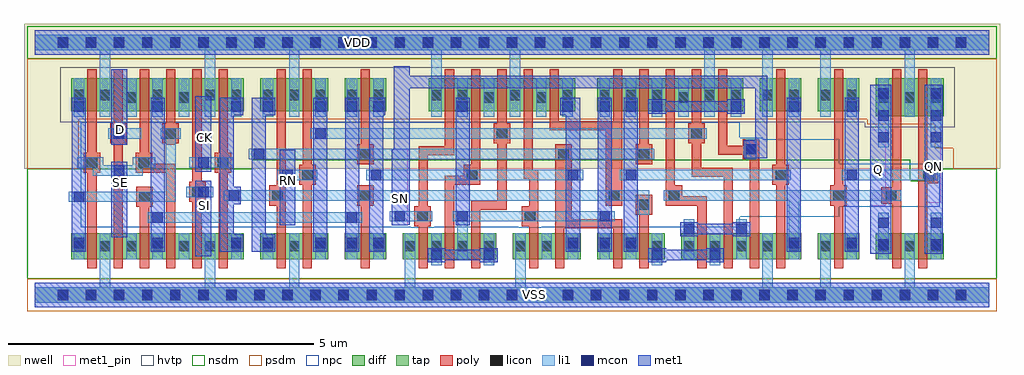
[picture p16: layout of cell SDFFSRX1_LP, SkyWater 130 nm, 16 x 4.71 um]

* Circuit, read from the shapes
.subckt SDFFSRX1_LP CK D Q QN RN SE SI SN VDD VSS
XM1 VSS SE n1 VSS sky130_fd_pr__nfet_01v8 w=0.42 l=0.15
XM2 n2 D VSS VSS sky130_fd_pr__nfet_01v8 w=0.42 l=0.15
XM3 n3 n1 n2 VSS sky130_fd_pr__nfet_01v8 w=0.42 l=0.15
XM4 n4 SE n3 VSS sky130_fd_pr__nfet_01v8 w=0.42 l=0.15
XM5 VSS SI n4 VSS sky130_fd_pr__nfet_01v8 w=0.42 l=0.15
XM6 n5 CK VSS VSS sky130_fd_pr__nfet_01v8 w=0.42 l=0.15
XM7 VSS n5 n6 VSS sky130_fd_pr__nfet_01v8 w=0.42 l=0.15
XM8 n7 RN VSS VSS sky130_fd_pr__nfet_01v8 w=0.42 l=0.15
XM9 n8 n5 n3 VSS sky130_fd_pr__nfet_01v8 w=0.42 l=0.15
XM10 n9 SN VSS VSS sky130_fd_pr__nfet_01v8 w=0.42 l=0.15
XM11 n10 n8 n9 VSS sky130_fd_pr__nfet_01v8 w=0.42 l=0.15
XM12 n9 n7 n10 VSS sky130_fd_pr__nfet_01v8 w=0.42 l=0.15
XM13 n11 n10 VSS VSS sky130_fd_pr__nfet_01v8 w=0.42 l=0.15
XM14 n8 n6 n11 VSS sky130_fd_pr__nfet_01v8 w=0.42 l=0.15
XM15 n12 n6 n10 VSS sky130_fd_pr__nfet_01v8 w=0.42 l=0.15
XM16 n13 n5 n12 VSS sky130_fd_pr__nfet_01v8 w=0.42 l=0.15
XM17 n13 n14 n15 VSS sky130_fd_pr__nfet_01v8 w=0.42 l=0.15
XM18 n15 n7 n13 VSS sky130_fd_pr__nfet_01v8 w=0.42 l=0.15
XM19 VSS SN n15 VSS sky130_fd_pr__nfet_01v8 w=0.42 l=0.15
XM20 n14 n12 VSS VSS sky130_fd_pr__nfet_01v8 w=0.42 l=0.15
XM21 n16 n14 VSS VSS sky130_fd_pr__nfet_01v8 w=0.42 l=0.15
XM22 VSS n14 Q VSS sky130_fd_pr__nfet_01v8 w=0.42 l=0.15
XM23 QN n16 VSS VSS sky130_fd_pr__nfet_01v8 w=0.42 l=0.15
XM24 VDD SE n1 VDD sky130_fd_pr__pfet_01v8_hvt w=0.54 l=0.15
XM25 n17 D VDD VDD sky130_fd_pr__pfet_01v8_hvt w=0.54 l=0.15
XM26 n3 SE n17 VDD sky130_fd_pr__pfet_01v8_hvt w=0.54 l=0.15
XM27 n18 n1 n3 VDD sky130_fd_pr__pfet_01v8_hvt w=0.54 l=0.15
XM28 VDD SI n18 VDD sky130_fd_pr__pfet_01v8_hvt w=0.54 l=0.15
XM29 n5 CK VDD VDD sky130_fd_pr__pfet_01v8_hvt w=0.54 l=0.15
XM30 VDD n5 n6 VDD sky130_fd_pr__pfet_01v8_hvt w=0.54 l=0.15
XM31 n7 RN VDD VDD sky130_fd_pr__pfet_01v8_hvt w=0.54 l=0.15
XM32 n8 n6 n3 VDD sky130_fd_pr__pfet_01v8_hvt w=0.54 l=0.15
XM33 n10 SN VDD VDD sky130_fd_pr__pfet_01v8_hvt w=0.54 l=0.15
XM34 n19 n8 n10 VDD sky130_fd_pr__pfet_01v8_hvt w=0.54 l=0.15
XM35 VDD n7 n19 VDD sky130_fd_pr__pfet_01v8_hvt w=0.54 l=0.15
XM36 n20 n10 VDD VDD sky130_fd_pr__pfet_01v8_hvt w=0.54 l=0.15
XM37 n8 n5 n20 VDD sky130_fd_pr__pfet_01v8_hvt w=0.54 l=0.15
XM38 n12 n5 n10 VDD sky130_fd_pr__pfet_01v8_hvt w=0.54 l=0.15
XM39 n21 n6 n12 VDD sky130_fd_pr__pfet_01v8_hvt w=0.54 l=0.15
XM40 n22 n14 n21 VDD sky130_fd_pr__pfet_01v8_hvt w=0.54 l=0.15
XM41 VDD n7 n22 VDD sky130_fd_pr__pfet_01v8_hvt w=0.54 l=0.15
XM42 n21 SN VDD VDD sky130_fd_pr__pfet_01v8_hvt w=0.54 l=0.15
XM43 n14 n12 VDD VDD sky130_fd_pr__pfet_01v8_hvt w=0.54 l=0.15
XM44 n16 n14 VDD VDD sky130_fd_pr__pfet_01v8_hvt w=0.54 l=0.15
XM45 VDD n14 Q VDD sky130_fd_pr__pfet_01v8_hvt w=0.62 l=0.15
XM46 QN n16 VDD VDD sky130_fd_pr__pfet_01v8_hvt w=0.62 l=0.15
.ends

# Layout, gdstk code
from math import pi, radians
import gdstk
lib = gdstk.Library(unit=1e-6, precision=1e-09)
def R(c, l, rs):  # rectangles x0, y0, x1, y1
    for r in rs: c.add(gdstk.rectangle(r[:2], r[2:], *l))
def A(c, l, x, y, w, h, nx, ny, dx, dy):  # array of equal rectangles
    R(c, l, [(x+i*dx, y+j*dy, x+i*dx+w, y+j*dy+h) for i in range(nx) for j in range(ny)])
def P(c, l, *ps):  # polygons
    for p in ps: c.add(gdstk.Polygon(p, *l))
nwell = (64, 20)
diff = (65, 20)
tap = (65, 44)
poly = (66, 20)
licon = (66, 44)
li1 = (67, 20)
mcon = (67, 44)
met1_pin = (68, 16)
met1 = (68, 20)
hvtp = (78, 44)
nsdm = (93, 44)
psdm = (94, 20)
npc = (95, 20)

pyl1con_c_cdns_758729379 = lib.new_cell('PYL1CON_C_CDNS_758729379653')
R(pyl1con_c_cdns_758729379, poly, [(-0.135,-0.165,0.135,0.165)])
R(pyl1con_c_cdns_758729379, licon, [(-0.085,-0.085,0.085,0.085)])
R(pyl1con_c_cdns_758729379, npc, [(-0.185,-0.185,0.185,0.185)])

l1m1_c_cdns_758729379651 = lib.new_cell('L1M1_C_CDNS_7587293796510')
R(l1m1_c_cdns_758729379651, li1, [(-0.085,-0.525,0.085,0.525)])
A(l1m1_c_cdns_758729379651, mcon, -0.085, -0.445, 0.17, 0.17, 1, 3, 0, 0.36)
R(l1m1_c_cdns_758729379651, met1, [(-0.115,-0.505,0.115,0.505)])

l1m1_c_cdns_758729379655 = lib.new_cell('L1M1_C_CDNS_758729379655')
R(l1m1_c_cdns_758729379655, li1, [(-0.085,-0.165,0.085,0.165)])
R(l1m1_c_cdns_758729379655, mcon, [(-0.085,-0.085,0.085,0.085)])
R(l1m1_c_cdns_758729379655, met1, [(-0.115,-0.145,0.115,0.145)])

l1m1_c_cdns_758729379659 = lib.new_cell('L1M1_C_CDNS_758729379659')
R(l1m1_c_cdns_758729379659, li1, [(-0.085,-0.345,0.085,0.345)])
R(l1m1_c_cdns_758729379659, mcon, [(-0.085,-0.265,0.085,-0.095), (-0.085,0.095,0.085,0.265)])
R(l1m1_c_cdns_758729379659, met1, [(-0.115,-0.325,0.115,0.325)])

l1m1_c_cdns_758729379654 = lib.new_cell('L1M1_C_CDNS_758729379654')
R(l1m1_c_cdns_758729379654, li1, [(-0.165,-0.085,0.165,0.085)])
R(l1m1_c_cdns_758729379654, mcon, [(-0.085,-0.085,0.085,0.085)])
R(l1m1_c_cdns_758729379654, met1, [(-0.115,-0.145,0.115,0.145)])

l1m1_c_cdns_758729379652 = lib.new_cell('L1M1_C_CDNS_758729379652')
R(l1m1_c_cdns_758729379652, li1, [(-0.085,-0.165,0.085,0.165)])
R(l1m1_c_cdns_758729379652, mcon, [(-0.085,-0.085,0.085,0.085)])
R(l1m1_c_cdns_758729379652, met1, [(-0.145,-0.115,0.145,0.115)])

polyconn_cdns_7587293796 = lib.new_cell('polyConn_CDNS_758729379650')
R(polyconn_cdns_7587293796, poly, [(-0.135,-0.165,0.135,0.165)])
R(polyconn_cdns_7587293796, licon, [(-0.085,-0.085,0.085,0.085)])
R(polyconn_cdns_7587293796, li1, [(-0.085,-0.165,0.085,0.165)])
R(polyconn_cdns_7587293796, mcon, [(-0.085,-0.085,0.085,0.085)])
R(polyconn_cdns_7587293796, met1, [(-0.115,-0.145,0.115,0.145)])
R(polyconn_cdns_7587293796, npc, [(-0.185,-0.185,0.185,0.185)])

licondiff_c_cdns_7587293 = lib.new_cell('LICONDIFF_C_CDNS_758729379657')
R(licondiff_c_cdns_7587293, diff, [(-0.125,-0.145,0.125,0.145)])
R(licondiff_c_cdns_7587293, licon, [(-0.085,-0.085,0.085,0.085), (-0.085,-0.085,0.085,0.085)])

sdffsrx1_lp = lib.new_cell('SDFFSRX1_LP')
R(sdffsrx1_lp, nwell, [(-0.18,2.07,15.82,4.445)])
R(sdffsrx1_lp, diff, [(0.595,0.59,3.425,1.01), (3.695,0.59,4.805,1.01), (5.075,0.59,5.755,1.01), (6.025,0.59,7.565,1.01), (7.835,0.59,8.945,1.01), (9.215,0.59,10.325,1.01), (10.595,0.59,12.565,1.01), (12.835,0.59,13.515,1.01), (13.785,0.59,14.895,1.01), (13.785,2.93,14.895,3.55), (0.595,3.01,3.425,3.55), (3.695,3.01,4.805,3.55), (5.075,3.01,5.755,3.55), (6.455,3.01,8.855,3.55), (9.215,3.01,11.615,3.55), (11.885,3.01,12.565,3.55), (12.835,3.01,13.515,3.55)])
A(sdffsrx1_lp, poly, 12.15, 0.44, 0.15, 3.26, 3, 1, 0.95, 0)
R(sdffsrx1_lp, poly, [(0.86,0.44,1.01,3.7), (1.29,0.44,1.44,3.7), (1.72,0.44,1.87,1.705), (2.58,0.44,2.73,3.7), (3.01,0.44,3.16,3.7), (3.96,0.44,4.11,3.7), (4.39,0.44,4.54,3.7), (5.34,0.44,5.49,1.795), (9.91,0.44,10.06,1.345), (14.48,0.44,14.63,3.7), (9.91,2.145,10.06,3.7), (5.34,2.16,5.49,3.7), (2.15,2.465,2.3,3.7)])
P(sdffsrx1_lp, poly, [(2.3,2.155),(1.87,2.155),(1.87,3.7),(1.72,3.7),(1.72,2.005),(2.15,2.005),(2.15,0.44),(2.3,0.44)],
  [(6.87,3.7),(6.72,3.7),(6.72,2.44),(6.29,2.44),(6.29,0.44),(6.44,0.44),(6.44,2.29),(6.87,2.29)],
  [(7.3,3.7),(7.15,3.7),(7.15,1.955),(6.72,1.955),(6.72,0.44),(6.87,0.44),(6.87,1.805),(7.3,1.805)],
  [(7.73,3.7),(7.58,3.7),(7.58,1.545),(7.15,1.545),(7.15,0.44),(7.3,0.44),(7.3,1.395),(7.73,1.395)],
  [(8.25,2.055),(8.16,2.055),(8.16,3.7),(8.01,3.7),(8.01,1.905),(8.1,1.905),(8.1,0.44),(8.25,0.44)],
  [(9.63,3.7),(9.48,3.7),(9.48,2.85),(8.59,2.85),(8.59,3.7),(8.44,3.7),(8.44,2.7),(9.36,2.7),(9.36,1.465),(9.63,1.465)],
  [(9.63,1.24),(8.8,1.24),(8.8,2.475),(8.53,2.475),(8.53,0.44),(8.68,0.44),(8.68,1.09),(9.48,1.09),(9.48,0.44),(9.63,0.44)],
  [(11.01,1.615),(10.49,1.615),(10.49,3.7),(10.34,3.7),(10.34,1.465),(10.86,1.465),(10.86,0.44),(11.01,0.44)],
  [(11.44,2.085),(10.92,2.085),(10.92,3.7),(10.77,3.7),(10.77,1.935),(11.29,1.935),(11.29,0.44),(11.44,0.44)],
  [(11.87,2.445),(11.35,2.445),(11.35,3.7),(11.2,3.7),(11.2,2.295),(11.72,2.295),(11.72,0.44),(11.87,0.44)])
A(sdffsrx1_lp, licon, 0.375, -0.085, 0.17, 0.17, 33, 2, 0.46, 4.14)
A(sdffsrx1_lp, licon, 1.065, 0.715, 0.17, 0.17, 3, 2, 0.86, 2.48)
A(sdffsrx1_lp, licon, 3.735, 0.715, 0.17, 0.17, 3, 2, 0.43, 2.48)
A(sdffsrx1_lp, licon, 6.065, 0.715, 0.17, 0.17, 4, 1, 0.43, 0)
A(sdffsrx1_lp, licon, 9.255, 0.715, 0.17, 0.17, 3, 2, 0.43, 2.48)
A(sdffsrx1_lp, licon, 10.635, 0.715, 0.17, 0.17, 5, 1, 0.43, 0)
A(sdffsrx1_lp, licon, 13.825, 0.715, 0.17, 0.17, 3, 2, 0.43, 2.44)
A(sdffsrx1_lp, licon, 6.925, 3.195, 0.17, 0.17, 3, 1, 0.86, 0)
R(sdffsrx1_lp, licon, [(0.635,0.715,0.805,0.885), (3.215,0.715,3.385,0.885), (5.115,0.715,5.285,0.885), (5.545,0.715,5.715,0.885), (7.875,0.715,8.045,0.885), (8.735,0.715,8.905,0.885), (12.875,0.715,13.045,0.885), (13.305,0.715,13.475,0.885), (0.635,3.195,0.805,3.365), (3.215,3.195,3.385,3.365), (5.115,3.195,5.285,3.365), (5.545,3.195,5.715,3.365), (6.495,3.195,6.665,3.365), (10.975,3.195,11.145,3.365), (11.405,3.195,11.575,3.365), (11.925,3.195,12.095,3.365), (12.355,3.195,12.525,3.365), (12.875,3.195,13.045,3.365), (13.305,3.195,13.475,3.365)])
A(sdffsrx1_lp, li1, 0.635, 0.59, 0.17, 0.42, 3, 1, 1.29, 0)
A(sdffsrx1_lp, li1, 9.255, 0.59, 0.17, 0.42, 3, 1, 0.43, 0)
A(sdffsrx1_lp, li1, 10.635, 0.59, 0.17, 0.42, 3, 1, 0.43, 0)
A(sdffsrx1_lp, li1, 0.635, 3.01, 0.17, 0.54, 3, 1, 1.29, 0)
A(sdffsrx1_lp, li1, 9.255, 3.01, 0.17, 0.54, 3, 1, 0.43, 0)
A(sdffsrx1_lp, li1, 11.405, 3.01, 0.17, 0.54, 3, 1, 0.95, 0)
R(sdffsrx1_lp, li1, [(3.735,0.59,3.905,1.01), (4.595,0.59,4.765,1.01), (5.115,0.59,5.285,1.01), (5.545,0.59,5.715,1.01), (6.495,0.59,6.665,1.01), (7.355,0.59,7.525,1.01), (8.735,0.59,8.905,1.01), (13.305,0.59,13.475,1.01), (13.825,0.59,13.995,1.01), (14.685,0.59,14.855,1.01), (2.525,2.085,3.25,2.255), (13.825,2.93,13.995,3.55), (14.685,2.93,14.855,3.55), (3.735,3.01,3.905,3.55), (4.595,3.01,4.765,3.55), (5.115,3.01,5.285,3.55), (5.545,3.01,5.715,3.55), (6.925,3.01,7.095,3.55), (8.645,3.01,8.815,3.55)])
P(sdffsrx1_lp, li1, [(2.39,2.735),(2.06,2.735),(2.06,2.565),(2.14,2.565),(2.14,1.695),(0.72,1.695),(0.72,1.525),(2.31,1.525),(2.31,2.565),(2.39,2.565)],
  [(9.505,1.375),(6.845,1.375),(6.845,1.205),(6.925,1.205),(6.925,0.59),(7.095,0.59),(7.095,1.205),(9.505,1.205)],
  [(14.2,1.715),(10.31,1.715),(10.31,1.545),(12.355,1.545),(12.355,0.59),(12.525,0.59),(12.525,1.545),(14.2,1.545)],
  [(15.64,4.265),(0,4.265),(0,4.015),(1.065,4.015),(1.065,2.925),(1.235,2.925),(1.235,4.015),(2.785,4.015),(2.785,2.925),(2.955,2.925),(2.955,4.015),(4.165,4.015),(4.165,2.925),(4.335,2.925),(4.335,4.015),(6.495,4.015),(6.495,2.925),(6.665,2.925),(6.665,4.015),(7.785,4.015),(7.785,2.925),(7.955,2.925),(7.955,4.015),(10.975,4.015),(10.975,2.925),(11.145,2.925),(11.145,4.015),(11.925,4.015),(11.925,2.925),(12.095,2.925),(12.095,4.015),(12.875,4.015),(12.875,2.925),(13.045,2.925),(13.045,4.015),(14.255,4.015),(14.255,2.925),(14.425,2.925),(14.425,4.015),(15.64,4.015)],
  [(15.64,0.125),(14.425,0.125),(14.425,1.015),(14.255,1.015),(14.255,0.125),(13.045,0.125),(13.045,1.015),(12.875,1.015),(12.875,0.125),(12.095,0.125),(12.095,1.015),(11.925,1.015),(11.925,0.125),(8.045,0.125),(8.045,1.015),(7.875,1.015),(7.875,0.125),(6.235,0.125),(6.235,1.015),(6.065,1.015),(6.065,0.125),(4.335,0.125),(4.335,1.015),(4.165,1.015),(4.165,0.125),(2.955,0.125),(2.955,1.015),(2.785,1.015),(2.785,0.125),(1.235,0.125),(1.235,1.015),(1.065,1.015),(1.065,0.125),(0,0.125),(0,-0.125),(15.64,-0.125)])
A(sdffsrx1_lp, mcon, 0.375, -0.085, 0.17, 0.17, 33, 2, 0.46, 4.14)
R(sdffsrx1_lp, met1_pin, [(2.63,0.635,2.89,1.875), (1.25,0.945,1.51,2.185), (4.01,1.145,4.27,2.385), (5.85,1.145,6.11,2.385), (13.69,1.465,13.95,2.705), (14.59,1.515,14.85,2.755), (2.63,2.02,2.89,3.26), (1.25,2.46,1.51,3.7)])
R(sdffsrx1_lp, met1, [(13.69,0.68,14.035,3.45)])
P(sdffsrx1_lp, met1, [(12.005,3.59),(6.145,3.59),(6.145,3.75),(5.885,3.75),(5.885,2.385),(5.85,2.385),(5.85,1.145),(6.11,1.145),(6.11,1.15),(6.145,1.15),(6.145,3.39),(11.805,3.39),(11.805,2.245),(12.005,2.245)],
  [(14.885,3.445),(14.85,3.445),(14.85,3.45),(14.59,3.45),(14.59,0.675),(14.885,0.675)])
P(sdffsrx1_lp, hvtp, [(15.075,3.73),(0.415,3.73),(0.415,2.83),(13.605,2.83),(13.605,2.75),(15.075,2.75)])
R(sdffsrx1_lp, nsdm, [(-0.125,3.875,15.765,4.405)])
P(sdffsrx1_lp, nsdm, [(15.765,2.07),(14.75,2.07),(14.75,1.875),(14.35,1.875),(14.35,2.215),(3.55,2.215),(3.55,2.07),(-0.125,2.07),(-0.125,0.265),(15.765,0.265)])
R(sdffsrx1_lp, psdm, [(-0.125,-0.265,15.765,0.265)])
P(sdffsrx1_lp, psdm, [(15.765,3.875),(-0.125,3.875),(-0.125,2.07),(0.715,2.07),(0.715,2.88),(13.645,2.88),(13.645,2.8),(14.75,2.8),(14.75,2.405),(15.055,2.405),(15.055,2.07),(15.765,2.07)])
P(sdffsrx1_lp, npc, [(14.83,2.155),(13.185,2.155),(13.185,2.55),(11.92,2.55),(11.92,2.575),(11.55,2.575),(11.55,2.835),(0.75,2.835),(0.75,1.11),(11.55,1.11),(11.55,1.285),(13.185,1.285),(13.185,1.445),(14.83,1.445)])
sdffsrx1_lp.add(gdstk.FlexPath([(0.69,2.17),(1.035,2.17),(1.035,2.04),(1.685,2.04),(1.685,2.17),(1.97,2.17)], 0.17, ends="flush", simple_path=True, layer=67, datatype=20))  # li1
sdffsrx1_lp.add(gdstk.FlexPath([(1.745,2.65),(1.2,2.65)], 0.17, ends="flush", simple_path=True, layer=67, datatype=20))  # li1
sdffsrx1_lp.add(gdstk.FlexPath([(2.76,1.69),(2.48,1.69)], 0.17, ends="flush", simple_path=True, layer=67, datatype=20))  # li1
sdffsrx1_lp.add(gdstk.FlexPath([(3.67,2.31),(10.15,2.31)], 0.17, ends="flush", simple_path=True, layer=67, datatype=20))  # li1
sdffsrx1_lp.add(gdstk.FlexPath([(1.58,2.925),(1.58,3.55)], 0.17, ends="flush", simple_path=True, layer=67, datatype=20))  # li1
sdffsrx1_lp.add(gdstk.FlexPath([(1.845,1.27),(5.365,1.27)], 0.17, ends="flush", simple_path=True, layer=67, datatype=20))  # li1
sdffsrx1_lp.add(gdstk.FlexPath([(7.44,2.925),(7.44,3.55)], 0.17, ends="flush", simple_path=True, layer=67, datatype=20))  # li1
sdffsrx1_lp.add(gdstk.FlexPath([(8.3,2.925),(8.3,3.55)], 0.17, ends="flush", simple_path=True, layer=67, datatype=20))  # li1
sdffsrx1_lp.add(gdstk.FlexPath([(9.585,1.97),(12.39,1.97)], 0.17, ends="flush", simple_path=True, layer=67, datatype=20))  # li1
sdffsrx1_lp.add(gdstk.FlexPath([(2.44,2.925),(2.44,3.55)], 0.17, ends="flush", simple_path=True, layer=67, datatype=20))  # li1
sdffsrx1_lp.add(gdstk.FlexPath([(4.68,2.65),(11.01,2.65)], 0.17, ends="flush", simple_path=True, layer=67, datatype=20))  # li1
sdffsrx1_lp.add(gdstk.FlexPath([(5.63,1.97),(8.985,1.97)], 0.17, ends="flush", simple_path=True, layer=67, datatype=20))  # li1
sdffsrx1_lp.add(gdstk.FlexPath([(3.135,1.63),(9.985,1.63),(9.985,1.315)], 0.17, ends="flush", simple_path=True, layer=67, datatype=20))  # li1
sdffsrx1_lp.add(gdstk.FlexPath([(13.225,1.97),(14.81,1.97)], 0.17, ends="flush", simple_path=True, layer=67, datatype=20))  # li1
sdffsrx1_lp.add(gdstk.FlexPath([(10.63,2.925),(10.63,3.55)], 0.17, ends="flush", simple_path=True, layer=67, datatype=20))  # li1
sdffsrx1_lp.add(gdstk.FlexPath([(1.58,0.59),(1.58,1.015)], 0.17, ends="flush", simple_path=True, layer=67, datatype=20))  # li1
sdffsrx1_lp.add(gdstk.FlexPath([(2.44,0.59),(2.44,1.015)], 0.17, ends="flush", simple_path=True, layer=67, datatype=20))  # li1
sdffsrx1_lp.add(gdstk.FlexPath([(8.39,0.59),(8.39,1.015)], 0.17, ends="flush", simple_path=True, layer=67, datatype=20))  # li1
sdffsrx1_lp.add(gdstk.FlexPath([(4.63,1.97),(4.085,1.97)], 0.17, ends="flush", simple_path=True, layer=67, datatype=20))  # li1
sdffsrx1_lp.add(gdstk.FlexPath([(6.515,1.29),(5.97,1.29)], 0.17, ends="flush", simple_path=True, layer=67, datatype=20))  # li1
sdffsrx1_lp.add(gdstk.FlexPath([(0,4.14),(15.64,4.14)], 0.4, ends="flush", simple_path=True, layer=68, datatype=20))  # met1
sdffsrx1_lp.add(gdstk.FlexPath([(0,0),(15.64,0)], 0.4, ends="flush", simple_path=True, layer=68, datatype=20))  # met1
sdffsrx1_lp.add(gdstk.FlexPath([(4.14,1.145),(4.14,2.385)], 0.26, ends="flush", simple_path=True, layer=68, datatype=20))  # met1
sdffsrx1_lp.add(gdstk.FlexPath([(2.76,2.02),(2.76,3.26)], 0.26, ends="flush", simple_path=True, layer=68, datatype=20))  # met1
sdffsrx1_lp.add(gdstk.FlexPath([(2.76,0.635),(2.76,1.875)], 0.26, ends="flush", simple_path=True, layer=68, datatype=20))  # met1
sdffsrx1_lp.add(gdstk.FlexPath([(3.145,0.705),(3.145,3.235)], 0.23, ends="flush", simple_path=True, layer=68, datatype=20))  # met1
sdffsrx1_lp.add(gdstk.FlexPath([(2.01,0.705),(2.01,3.235)], 0.23, ends="flush", simple_path=True, layer=68, datatype=20))  # met1
sdffsrx1_lp.add(gdstk.FlexPath([(5.2,0.705),(5.2,3.235)], 0.23, ends="flush", simple_path=True, layer=68, datatype=20))  # met1
sdffsrx1_lp.add(gdstk.FlexPath([(13.39,0.705),(13.39,3.235)], 0.23, ends="flush", simple_path=True, layer=68, datatype=20))  # met1
sdffsrx1_lp.add(gdstk.FlexPath([(12.44,0.705),(12.44,3.235)], 0.23, ends="flush", simple_path=True, layer=68, datatype=20))  # met1
sdffsrx1_lp.add(gdstk.FlexPath([(9.77,0.705),(9.77,3.235)], 0.23, ends="flush", simple_path=True, layer=68, datatype=20))  # met1
sdffsrx1_lp.add(gdstk.FlexPath([(9.34,0.705),(9.34,3.235)], 0.23, ends="flush", simple_path=True, layer=68, datatype=20))  # met1
sdffsrx1_lp.add(gdstk.FlexPath([(3.67,0.705),(3.67,3.235)], 0.23, ends="flush", simple_path=True, layer=68, datatype=20))  # met1
sdffsrx1_lp.add(gdstk.FlexPath([(4.68,0.705),(4.68,3.235)], 0.23, ends="flush", simple_path=True, layer=68, datatype=20))  # met1
sdffsrx1_lp.add(gdstk.FlexPath([(5.595,0.705),(5.595,3.235)], 0.23, ends="flush", simple_path=True, layer=68, datatype=20))  # met1
sdffsrx1_lp.add(gdstk.FlexPath([(8.82,0.705),(8.82,3.235)], 0.23, ends="flush", simple_path=True, layer=68, datatype=20))  # met1
sdffsrx1_lp.add(gdstk.FlexPath([(0.72,0.705),(0.72,3.235)], 0.23, ends="flush", simple_path=True, layer=68, datatype=20))  # met1
sdffsrx1_lp.add(gdstk.FlexPath([(10.055,0.655),(11.295,0.655)], 0.17, ends="flush", simple_path=True, layer=68, datatype=20))  # met1
sdffsrx1_lp.add(gdstk.FlexPath([(10.055,3.09),(11.635,3.09)], 0.17, ends="flush", simple_path=True, layer=68, datatype=20))  # met1
sdffsrx1_lp.add(gdstk.FlexPath([(10.575,1.08),(11.725,1.08)], 0.17, ends="flush", simple_path=True, layer=68, datatype=20))  # met1
sdffsrx1_lp.add(gdstk.FlexPath([(7.01,1.145),(7.01,3.235)], 0.23, ends="flush", simple_path=True, layer=68, datatype=20))  # met1
sdffsrx1_lp.add(gdstk.FlexPath([(6.435,0.655),(7.585,0.655)], 0.17, ends="flush", simple_path=True, layer=68, datatype=20))  # met1
sdffsrx1_lp.add(gdstk.FlexPath([(1.38,2.46),(1.38,3.7)], 0.26, ends="flush", simple_path=True, layer=68, datatype=20))  # met1
sdffsrx1_lp.add(gdstk.FlexPath([(1.38,0.945),(1.38,2.185)], 0.26, ends="flush", simple_path=True, layer=68, datatype=20))  # met1
sdffsrx1_lp.add(gdstk.FlexPath([(0,4.14),(15.64,4.14)], 0.4, ends="flush", simple_path=True, layer=68, datatype=16))  # met1_pin
sdffsrx1_lp.add(gdstk.FlexPath([(0,0),(15.64,0)], 0.4, ends="flush", simple_path=True, layer=68, datatype=16))  # met1_pin
sdffsrx1_lp.add(gdstk.FlexPath([(0,4.14),(15.64,4.14)], 0.25, ends="flush", simple_path=True, layer=65, datatype=44))  # tap
sdffsrx1_lp.add(gdstk.FlexPath([(0,0),(15.64,0)], 0.25, ends="flush", simple_path=True, layer=65, datatype=44))  # tap
sdffsrx1_lp.add(gdstk.Reference(pyl1con_c_cdns_758729379, (14.645,1.97), rotation=pi/2, x_reflection=True))
sdffsrx1_lp.add(gdstk.Reference(pyl1con_c_cdns_758729379, (6.35,1.29), x_reflection=True))
sdffsrx1_lp.add(gdstk.Reference(pyl1con_c_cdns_758729379, (4.465,1.97), x_reflection=True))
sdffsrx1_lp.add(gdstk.Reference(pyl1con_c_cdns_758729379, (1.365,2.65), x_reflection=True))
sdffsrx1_lp.add(gdstk.Reference(pyl1con_c_cdns_758729379, (3.085,2.17), x_reflection=True))
sdffsrx1_lp.add(gdstk.Reference(pyl1con_c_cdns_758729379, (2.665,1.69), x_reflection=True))
sdffsrx1_lp.add(gdstk.Reference(pyl1con_c_cdns_758729379, (0.935,2.17)))
sdffsrx1_lp.add(gdstk.Reference(pyl1con_c_cdns_758729379, (1.785,2.17)))
sdffsrx1_lp.add(gdstk.Reference(pyl1con_c_cdns_758729379, (14.035,1.63), rotation=pi/2, x_reflection=True))
sdffsrx1_lp.add(gdstk.Reference(pyl1con_c_cdns_758729379, (10.845,2.65)))
sdffsrx1_lp.add(gdstk.Reference(pyl1con_c_cdns_758729379, (7.655,2.65)))
sdffsrx1_lp.add(gdstk.Reference(pyl1con_c_cdns_758729379, (7.165,1.97)))
sdffsrx1_lp.add(gdstk.Reference(pyl1con_c_cdns_758729379, (13.175,1.63), rotation=pi, x_reflection=True))
sdffsrx1_lp.add(gdstk.Reference(pyl1con_c_cdns_758729379, (12.225,1.97), rotation=pi, x_reflection=True))
sdffsrx1_lp.add(gdstk.Reference(pyl1con_c_cdns_758729379, (9.495,1.63), x_reflection=True))
sdffsrx1_lp.add(gdstk.Reference(pyl1con_c_cdns_758729379, (9.985,1.48)))
sdffsrx1_lp.add(gdstk.Reference(pyl1con_c_cdns_758729379, (3.975,1.63)))
sdffsrx1_lp.add(gdstk.Reference(pyl1con_c_cdns_758729379, (5.415,1.63)))
sdffsrx1_lp.add(gdstk.Reference(pyl1con_c_cdns_758729379, (9.985,2.31)))
sdffsrx1_lp.add(gdstk.Reference(pyl1con_c_cdns_758729379, (5.415,2.31)))
sdffsrx1_lp.add(gdstk.Reference(pyl1con_c_cdns_758729379, (8.665,2.31)))
sdffsrx1_lp.add(gdstk.Reference(pyl1con_c_cdns_758729379, (8.115,1.29)))
sdffsrx1_lp.add(gdstk.Reference(pyl1con_c_cdns_758729379, (10.475,1.63), rotation=pi, x_reflection=True))
sdffsrx1_lp.add(gdstk.Reference(pyl1con_c_cdns_758729379, (2.225,2.65), x_reflection=True))
sdffsrx1_lp.add(gdstk.Reference(pyl1con_c_cdns_758729379, (1.795,1.61)))
sdffsrx1_lp.add(gdstk.Reference(l1m1_c_cdns_758729379651, (14.77,2.945)))
sdffsrx1_lp.add(gdstk.Reference(l1m1_c_cdns_758729379651, (13.91,2.945)))
sdffsrx1_lp.add(gdstk.Reference(l1m1_c_cdns_758729379655, (0.72,3.09)))
sdffsrx1_lp.add(gdstk.Reference(l1m1_c_cdns_758729379655, (0.72,0.85)))
sdffsrx1_lp.add(gdstk.Reference(l1m1_c_cdns_758729379655, (8.82,0.85)))
sdffsrx1_lp.add(gdstk.Reference(l1m1_c_cdns_758729379655, (8.73,3.09)))
sdffsrx1_lp.add(gdstk.Reference(l1m1_c_cdns_758729379655, (5.63,3.09)))
sdffsrx1_lp.add(gdstk.Reference(l1m1_c_cdns_758729379655, (5.63,0.85)))
sdffsrx1_lp.add(gdstk.Reference(l1m1_c_cdns_758729379655, (4.68,3.09)))
sdffsrx1_lp.add(gdstk.Reference(l1m1_c_cdns_758729379655, (4.68,0.85)))
sdffsrx1_lp.add(gdstk.Reference(l1m1_c_cdns_758729379655, (2.01,0.85)))
sdffsrx1_lp.add(gdstk.Reference(l1m1_c_cdns_758729379655, (2.01,3.09)))
sdffsrx1_lp.add(gdstk.Reference(l1m1_c_cdns_758729379655, (5.2,0.85)))
sdffsrx1_lp.add(gdstk.Reference(l1m1_c_cdns_758729379655, (5.2,3.09)))
sdffsrx1_lp.add(gdstk.Reference(l1m1_c_cdns_758729379655, (9.77,3.09)))
sdffsrx1_lp.add(gdstk.Reference(l1m1_c_cdns_758729379655, (9.77,0.85)))
sdffsrx1_lp.add(gdstk.Reference(l1m1_c_cdns_758729379655, (3.3,0.85)))
sdffsrx1_lp.add(gdstk.Reference(l1m1_c_cdns_758729379655, (3.3,3.09)))
sdffsrx1_lp.add(gdstk.Reference(l1m1_c_cdns_758729379655, (3.82,0.85)))
sdffsrx1_lp.add(gdstk.Reference(l1m1_c_cdns_758729379655, (3.82,3.09)))
sdffsrx1_lp.add(gdstk.Reference(l1m1_c_cdns_758729379655, (9.34,0.85)))
sdffsrx1_lp.add(gdstk.Reference(l1m1_c_cdns_758729379655, (7.01,3.09)))
sdffsrx1_lp.add(gdstk.Reference(l1m1_c_cdns_758729379655, (12.44,3.09), rotation=pi, x_reflection=True))
sdffsrx1_lp.add(gdstk.Reference(l1m1_c_cdns_758729379655, (12.44,0.85), rotation=pi, x_reflection=True))
sdffsrx1_lp.add(gdstk.Reference(l1m1_c_cdns_758729379655, (13.39,3.09)))
sdffsrx1_lp.add(gdstk.Reference(l1m1_c_cdns_758729379655, (13.39,0.85)))
sdffsrx1_lp.add(gdstk.Reference(l1m1_c_cdns_758729379655, (9.34,3.09)))
sdffsrx1_lp.add(gdstk.Reference(l1m1_c_cdns_758729379659, (14.77,1.005)))
sdffsrx1_lp.add(gdstk.Reference(l1m1_c_cdns_758729379659, (13.91,1.005)))
sdffsrx1_lp.add(gdstk.Reference(l1m1_c_cdns_758729379654, (5.98,1.29), x_reflection=True))
sdffsrx1_lp.add(gdstk.Reference(l1m1_c_cdns_758729379654, (4.14,1.97), x_reflection=True))
sdffsrx1_lp.add(gdstk.Reference(l1m1_c_cdns_758729379654, (1.38,2.04), x_reflection=True))
sdffsrx1_lp.add(gdstk.Reference(l1m1_c_cdns_758729379654, (1.38,2.65), x_reflection=True))
sdffsrx1_lp.add(gdstk.Reference(l1m1_c_cdns_758729379654, (2.76,2.17), x_reflection=True))
sdffsrx1_lp.add(gdstk.Reference(l1m1_c_cdns_758729379654, (13.39,1.97)))
sdffsrx1_lp.add(gdstk.Reference(l1m1_c_cdns_758729379654, (0.72,1.61)))
sdffsrx1_lp.add(gdstk.Reference(l1m1_c_cdns_758729379654, (4.68,2.65)))
sdffsrx1_lp.add(gdstk.Reference(l1m1_c_cdns_758729379654, (8.82,1.97)))
sdffsrx1_lp.add(gdstk.Reference(l1m1_c_cdns_758729379654, (5.595,1.97)))
sdffsrx1_lp.add(gdstk.Reference(l1m1_c_cdns_758729379654, (2.01,1.27)))
sdffsrx1_lp.add(gdstk.Reference(l1m1_c_cdns_758729379654, (5.2,1.27)))
sdffsrx1_lp.add(gdstk.Reference(l1m1_c_cdns_758729379654, (3.26,1.63)))
sdffsrx1_lp.add(gdstk.Reference(l1m1_c_cdns_758729379654, (3.67,2.31)))
sdffsrx1_lp.add(gdstk.Reference(l1m1_c_cdns_758729379654, (7.01,1.29)))
sdffsrx1_lp.add(gdstk.Reference(l1m1_c_cdns_758729379654, (9.34,1.29)))
sdffsrx1_lp.add(gdstk.Reference(l1m1_c_cdns_758729379654, (9.77,1.97)))
sdffsrx1_lp.add(gdstk.Reference(l1m1_c_cdns_758729379654, (2.76,1.69), x_reflection=True))
sdffsrx1_lp.add(gdstk.Reference(l1m1_c_cdns_758729379652, (6.58,0.655)))
sdffsrx1_lp.add(gdstk.Reference(l1m1_c_cdns_758729379652, (11.58,1.08)))
sdffsrx1_lp.add(gdstk.Reference(l1m1_c_cdns_758729379652, (10.72,1.08)))
sdffsrx1_lp.add(gdstk.Reference(l1m1_c_cdns_758729379652, (11.15,0.655)))
sdffsrx1_lp.add(gdstk.Reference(l1m1_c_cdns_758729379652, (10.2,0.655)))
sdffsrx1_lp.add(gdstk.Reference(l1m1_c_cdns_758729379652, (11.49,3.09)))
sdffsrx1_lp.add(gdstk.Reference(l1m1_c_cdns_758729379652, (10.2,3.09)))
sdffsrx1_lp.add(gdstk.Reference(l1m1_c_cdns_758729379652, (7.44,0.655)))
sdffsrx1_lp.add(gdstk.Reference(polyconn_cdns_7587293796, (11.735,2.39)))
sdffsrx1_lp.add(gdstk.Reference(licondiff_c_cdns_7587293, (8.39,0.8)))
sdffsrx1_lp.add(gdstk.Reference(licondiff_c_cdns_7587293, (2.44,0.8)))
sdffsrx1_lp.add(gdstk.Reference(licondiff_c_cdns_7587293, (1.58,0.8)))
sdffsrx1_lp.add(gdstk.Reference(licondiff_c_cdns_7587293, (10.63,3.235)))
sdffsrx1_lp.add(gdstk.Reference(licondiff_c_cdns_7587293, (8.3,3.235)))
sdffsrx1_lp.add(gdstk.Reference(licondiff_c_cdns_7587293, (7.44,3.235)))
sdffsrx1_lp.add(gdstk.Reference(licondiff_c_cdns_7587293, (2.44,3.235)))
sdffsrx1_lp.add(gdstk.Reference(licondiff_c_cdns_7587293, (1.58,3.235)))
sdffsrx1_lp.add(gdstk.Label('VDD', (5.285,4.145), layer=68, texttype=5))
sdffsrx1_lp.add(gdstk.Label('QN', (14.735,2.11), layer=68, texttype=5))
sdffsrx1_lp.add(gdstk.Label('Q', (13.835,2.06), layer=68, texttype=5))
sdffsrx1_lp.add(gdstk.Label('RN', (4.155,1.88), layer=68, texttype=5))
sdffsrx1_lp.add(gdstk.Label('CK', (2.775,2.575), layer=68, texttype=5))
sdffsrx1_lp.add(gdstk.Label('SI', (2.775,1.465), layer=68, texttype=5))
sdffsrx1_lp.add(gdstk.Label('SN', (5.995,1.585), layer=68, texttype=5))
sdffsrx1_lp.add(gdstk.Label('SE', (1.395,1.85), layer=68, texttype=5))
sdffsrx1_lp.add(gdstk.Label('D', (1.395,2.705), layer=68, texttype=5))
sdffsrx1_lp.add(gdstk.Label('VSS', (8.195,0.005), layer=68, texttype=5))

lib.write_gds('SDFFSRX1_LP.gds')
